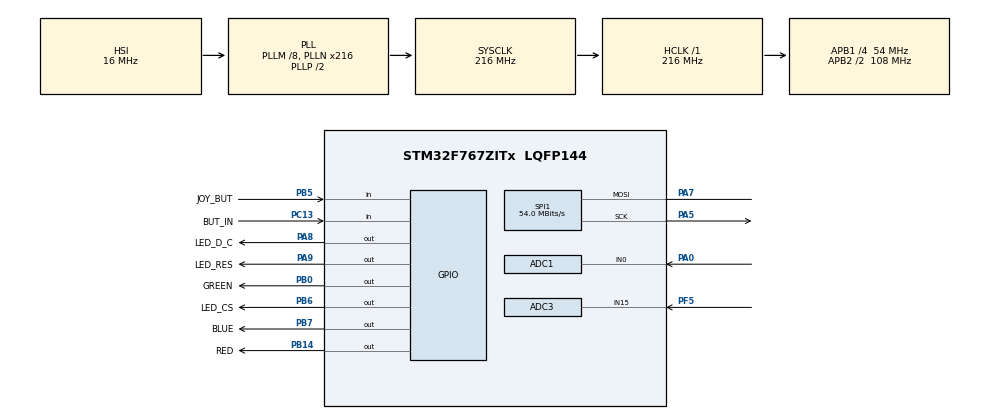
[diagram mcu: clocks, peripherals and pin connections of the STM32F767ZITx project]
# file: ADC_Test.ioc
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ADC1.Channel-8\#ChannelRegularConversion=ADC_CHANNEL_0
ADC1.ClockPrescaler=ADC_CLOCK_SYNC_PCLK_DIV4
ADC1.InjNumberOfConversion=0
ADC1.NbrOfConversion=1
ADC1.NbrOfConversionFlag=1
ADC1.Rank-8\#ChannelRegularConversion=1
ADC1.SamplingTime-8\#ChannelRegularConversion=ADC_SAMPLETIME_3CYCLES
ADC1.master=1
ADC3.Channel-2\#ChannelRegularConversion=ADC_CHANNEL_15
ADC3.NbrOfConversionFlag=1
ADC3.Rank-2\#ChannelRegularConversion=1
ADC3.SamplingTime-2\#ChannelRegularConversion=ADC_SAMPLETIME_3CYCLES
Mcu.Family=STM32F7
Mcu.Name=STM32F767ZITx
Mcu.Package=LQFP144
NVIC.PriorityGroup=NVIC_PRIORITYGROUP_4
PA0/WKUP.Signal=ADCx_IN0
PA5.Mode=Simplex_Bidirectional_Master
PA5.Signal=SPI1_SCK
PA7.Mode=Simplex_Bidirectional_Master
PA7.Signal=SPI1_MOSI
PA8.GPIO_Label=LED_D_C
PA8.Signal=GPIO_Output
PA9.GPIO_Label=LED_RES
PA9.Signal=GPIO_Output
PB0.GPIO_Label=GREEN
PB0.Signal=GPIO_Output
PB14.GPIO_Label=RED
PB14.Signal=GPIO_Output
PB5.GPIO_Label=JOY_BUT
PB5.GPIO_PuPd=GPIO_PULLDOWN
PB5.Signal=GPIO_Input
PB6.GPIO_Label=LED_CS
PB6.Signal=GPIO_Output
PB7.GPIO_Label=BLUE
PB7.Signal=GPIO_Output
PC13.GPIO_Label=BUT_IN
PC13.GPIO_PuPd=GPIO_PULLDOWN
PC13.Signal=GPIO_Input
PF5.Mode=IN15
PF5.Signal=ADC3_IN15
ProjectManager.HeapSize=0x800
ProjectManager.StackSize=0x1600
ProjectManager.TargetToolchain=STM32CubeIDE
RCC.48MHZClocksFreq_Value=24000000
RCC.AHBFreq_Value=216000000
RCC.APB1CLKDivider=RCC_HCLK_DIV4
RCC.APB1Freq_Value=54000000
RCC.APB1TimFreq_Value=108000000
RCC.APB2CLKDivider=RCC_HCLK_DIV2
RCC.APB2Freq_Value=108000000
RCC.APB2TimFreq_Value=216000000
RCC.CortexFreq_Value=216000000
RCC.HCLKFreq_Value=216000000
RCC.HSE_VALUE=16000000
RCC.HSI_VALUE=16000000
RCC.LSE_VALUE=32768
RCC.PLLM=8
RCC.PLLMUL=RCC_PLL_MUL9
RCC.PLLN=216
RCC.PRESCALERUSB=RCC_USBCLKSOURCE_PLL_DIV1_5
RCC.SYSCLKFreq_VALUE=216000000
RCC.SYSCLKSource=RCC_SYSCLKSOURCE_PLLCLK
RCC.SYSCLKSourceVirtual=RCC_SYSCLKSOURCE_PLLCLK
RCC.USBFreq_Value=216000000
RCC.VCOOutputFreq_Value=432000000
SH.ADCx_IN0.0=ADC1_IN0,IN0
SPI1.CalculateBaudRate=54.0 MBits/s
SPI1.DataSize=SPI_DATASIZE_8BIT
SPI1.Direction=SPI_DIRECTION_1LINE
SPI1.Mode=SPI_MODE_MASTER
SPI1.VirtualType=VM_MASTER
board=NUCLEO-F767ZI

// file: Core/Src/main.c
/* USER CODE BEGIN Header */
/**
  ******************************************************************************
  * @file           : main.c
  * @brief          : Main program body
  ******************************************************************************
  * @attention
  *
  * <h2><center>&copy; Copyright (c) 2021 STMicroelectronics.
  * All rights reserved.</center></h2>
  *
  * This software component is licensed by ST under BSD 3-Clause license,
  * the "License"; You may not use this file except in compliance with the
  * License. You may obtain a copy of the License at:
  *                        opensource.org/licenses/BSD-3-Clause
  *
  ******************************************************************************
  */
/* USER CODE END Header */
#include "main.h"
#include "adc.h"
#include "spi.h"
#include "gpio.h"

/* USER CODE BEGIN Includes */

#include "game.h"

/* USER CODE END Includes */

/* USER CODE BEGIN PTD */

extern u8 bulletCount;

/* USER CODE END PTD */

void SystemClock_Config(void);

int main(void)
{

  /* MCU Configuration--------------------------------------------------------*/

  /* Reset of all peripherals, Initializes the Flash interface and the Systick. */
  HAL_Init();

  /* Configure the system clock */
  SystemClock_Config();

  /* Initialize all configured peripherals */
  MX_GPIO_Init();
  MX_ADC1_Init();
  MX_SPI1_Init();
  MX_ADC3_Init();
  /* USER CODE BEGIN 2 */

  ssd1306_Init();

  ssd1306_DrawFilledRectangle(0, 0, DISPLAY_WIDTH - 1, 15, 1);
  ssd1306_WriteText(4, 3, "SPACE SHOOTING v1", Font_7x10, 0);

  while (!ButtonHandler())
  {
	  ssd1306_WriteText(4, 27, "Press   Joy   Key", Font_7x10, 1);
	  ssd1306_UpdateScreen();
	  delay(200);
	  ERASE_BOTTOM;
	  ssd1306_UpdateScreen();
	  delay(300);
  }

  // ============================= GAME PRE_INIT =============================

  _GameFeature MainGameStates;

  _GameObject starship;

  _GameObject care;
  _GameObject bullet [BULLET_QUANTITY];
  _GameObject bossBullet [BOSS_BULLET_QUANTITY];

  _GameObject enemy [ENEMY_MAX_QANT + 10];
  _GameObject boss;

  /* USER CODE END 2 */

  /* Infinite loop */
  /* USER CODE BEGIN WHILE */
  while (1)
  {

	  // =====================================================================
	  // ================ GAME INIT (or after GAME_OVER) =====================
	  // =====================================================================

	  tryAgain:

	  MainGameStates.score = 0 + ((LVL_TEST_MP - 1) * GAME_LVL_PASS_SCORE); 	// LVL Multiply

	  MainGameStates.gameState = (_GAMESTATE)LVL_TEST_PASS;
	  MainGameStates.gameLVL = 1 + (LVL_TEST_MP - 1);

	  starship.x_cor = 5;
	  starship.y_cor = 24;
	  starship.shotApply = ON;

	  starship.hitPoints = 3;
	  starship.bulletCount = 0;
	  starship.shield = STARSHIP_SHIELD;

	  for (u8 i = 0; i < BULLET_QUANTITY; i++)
		  bullet[i].app = DISAPPEAR;

	  for (u8 i = 0; i < ENEMY_MAX_QANT; i++)
		  enemy[i].app = DISAPPEAR;

	  for (u8 i = 0; i < BOSS_BULLET_QUANTITY; i++)
		  bossBullet[i].app = DISAPPEAR;

	  care.app = DISAPPEAR;

	  boss.app = DISAPPEAR;
	  boss.lvl = MainGameStates.gameLVL - 1;
	  boss.initState = 0;

	  while (1)
	  {
		  ssd1306_Fill(0);
		  delay(1);

		  switch(MainGameStates.gameState)
		  {
		  	  case LVL_PASS:
		  	  {
		  		  _GameEngineJoystickHandler(JoystickMoveHandler(),&MainGameStates, &starship, bullet, &boss);
				  _GameEngineBulletsHandler(bullet);

				  _GameEngineCareHandler(&care);
				  _GameEngineEnemyesHandler(&MainGameStates, enemy);

				  _GameEngineColissionHandler (&MainGameStates, &starship, bullet, enemy, &care, &boss, bossBullet);

				  // ===============================================

				  _GameEngineStarshipDraw(&starship);
				  _GameEngineBulletsDraw(bullet);
				  _GameEngineEnemyesDraw(&MainGameStates ,enemy);
				  _GameEngineCareDraw(&care);

				  _GameEngineScoreDraw(&MainGameStates, &starship);

				  break;
		  	  }

		  	  case BOSS_PASS:
			  {
				  _GameEngineJoystickHandler(JoystickMoveHandler(),&MainGameStates, &starship, bullet, &boss);
				  _GameEngineBulletsHandler(bullet);
				  _GameEngineBossHandler(&MainGameStates, &starship, bullet, enemy, &care, &boss, bossBullet);
				  _GameEngineBossBulletsHandler(bossBullet);

				  _GameEngineColissionHandler (&MainGameStates, &starship, bullet, enemy, &care, &boss, bossBullet);

				  // ===============================================

				  _GameEngineStarshipDraw(&starship);
				  _GameEngineBulletsDraw(bullet);
				  _GameEngineBossDraw(&boss);
				  _GameEngineBossBulletsDraw(bossBullet);

				  _GameEngineScoreDraw(&MainGameStates, &starship);
				  _GameEngineBossHPDraw (&MainGameStates, &boss);

				  break;
			  }

		  	  case GAME_OVER:
		  	  {
		  		_GameEngineGameOver(&MainGameStates);
		  		goto tryAgain;
		  		break;
		  	  }

		  	  case VICTORY:
		  	  {
		  		_GameEngineGameOver(&MainGameStates);
				goto tryAgain;
				break;
		  	  }
		  }

		  _GameEngineScoreHandler(&MainGameStates);
		  _GameEngineLifeHandler(&MainGameStates, &starship);

		  ssd1306_UpdateScreen();
		  delay(25);
	  }

    /* USER CODE END WHILE */

  }
}

void SystemClock_Config(void)
{
  RCC_OscInitTypeDef RCC_OscInitStruct = {0};
  RCC_ClkInitTypeDef RCC_ClkInitStruct = {0};

  /** Configure the main internal regulator output voltage
  */
  __HAL_RCC_PWR_CLK_ENABLE();
  __HAL_PWR_VOLTAGESCALING_CONFIG(PWR_REGULATOR_VOLTAGE_SCALE1);
  /** Initializes the RCC Oscillators according to the specified parameters
  * in the RCC_OscInitTypeDef structure.
  */
  RCC_OscInitStruct.OscillatorType = RCC_OSCILLATORTYPE_HSI;
  RCC_OscInitStruct.HSIState = RCC_HSI_ON;
  RCC_OscInitStruct.HSICalibrationValue = RCC_HSICALIBRATION_DEFAULT;
  RCC_OscInitStruct.PLL.PLLState = RCC_PLL_ON;
  RCC_OscInitStruct.PLL.PLLSource = RCC_PLLSOURCE_HSI;
  RCC_OscInitStruct.PLL.PLLM = 8;
  RCC_OscInitStruct.PLL.PLLN = 216;
  RCC_OscInitStruct.PLL.PLLP = RCC_PLLP_DIV2;
  RCC_OscInitStruct.PLL.PLLQ = 2;
  if (HAL_RCC_OscConfig(&RCC_OscInitStruct) != HAL_OK)
  {
    Error_Handler();
  }
  /** Activate the Over-Drive mode
  */
  if (HAL_PWREx_EnableOverDrive() != HAL_OK)
  {
    Error_Handler();
  }
  /** Initializes the CPU, AHB and APB buses clocks
  */
  RCC_ClkInitStruct.ClockType = RCC_CLOCKTYPE_HCLK|RCC_CLOCKTYPE_SYSCLK
                              |RCC_CLOCKTYPE_PCLK1|RCC_CLOCKTYPE_PCLK2;
  RCC_ClkInitStruct.SYSCLKSource = RCC_SYSCLKSOURCE_PLLCLK;
  RCC_ClkInitStruct.AHBCLKDivider = RCC_SYSCLK_DIV1;
  RCC_ClkInitStruct.APB1CLKDivider = RCC_HCLK_DIV4;
  RCC_ClkInitStruct.APB2CLKDivider = RCC_HCLK_DIV2;

  if (HAL_RCC_ClockConfig(&RCC_ClkInitStruct, FLASH_LATENCY_7) != HAL_OK)
  {
    Error_Handler();
  }
}

void Error_Handler(void)
{
}

/************************ (C) COPYRIGHT STMicroelectronics *****END OF FILE****/
